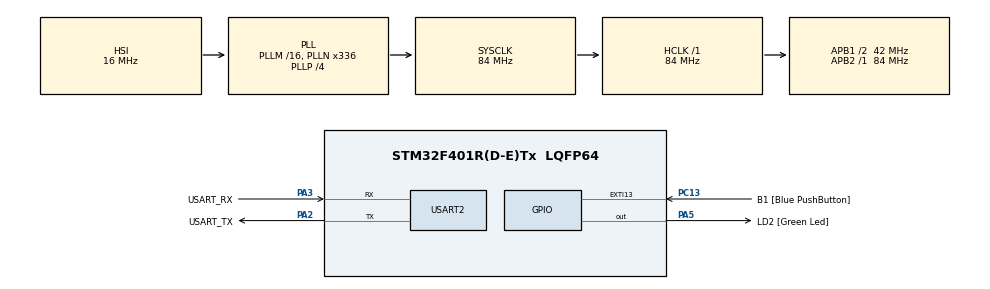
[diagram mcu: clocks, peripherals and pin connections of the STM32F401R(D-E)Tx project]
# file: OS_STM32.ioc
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Mcu.Family=STM32F4
Mcu.Name=STM32F401R(D-E)Tx
Mcu.Package=LQFP64
NVIC.PriorityGroup=NVIC_PRIORITYGROUP_0
PA13.GPIO_Label=TMS
PA13.Mode=Serial_Wire
PA13.Signal=SYS_JTMS-SWDIO
PA14.GPIO_Label=TCK
PA14.Mode=Serial_Wire
PA14.Signal=SYS_JTCK-SWCLK
PA2.GPIO_Label=USART_TX
PA2.GPIO_Mode=GPIO_MODE_AF_PP
PA2.GPIO_PuPd=GPIO_NOPULL
PA2.GPIO_Speed=GPIO_SPEED_FREQ_LOW
PA2.Mode=Asynchronous
PA2.Signal=USART2_TX
PA3.GPIO_Label=USART_RX
PA3.GPIO_Mode=GPIO_MODE_AF_PP
PA3.GPIO_PuPd=GPIO_NOPULL
PA3.GPIO_Speed=GPIO_SPEED_FREQ_LOW
PA3.Mode=Asynchronous
PA3.Signal=USART2_RX
PA5.GPIO_Label=LD2 [Green Led]
PA5.GPIO_Mode=GPIO_MODE_OUTPUT_PP
PA5.GPIO_PuPd=GPIO_NOPULL
PA5.GPIO_Speed=GPIO_SPEED_FREQ_LOW
PA5.Signal=GPIO_Output
PB3.GPIO_Label=SWO
PB3.Signal=SYS_JTDO-SWO
PC13-ANTI_TAMP.GPIO_Label=B1 [Blue PushButton]
PC13-ANTI_TAMP.GPIO_ModeDefaultEXTI=GPIO_MODE_IT_FALLING
PC13-ANTI_TAMP.GPIO_PuPd=GPIO_NOPULL
PC13-ANTI_TAMP.Signal=GPXTI13
PC14-OSC32_IN.Mode=LSE-External-Oscillator
PC14-OSC32_IN.Signal=RCC_OSC32_IN
PC15-OSC32_OUT.Mode=LSE-External-Oscillator
PC15-OSC32_OUT.Signal=RCC_OSC32_OUT
PH0\ -\ OSC_IN.Mode=HSE-External-Clock-Source
PH0\ -\ OSC_IN.Signal=RCC_OSC_IN
PH1\ -\ OSC_OUT.Mode=HSE-External-Clock-Source
PH1\ -\ OSC_OUT.Signal=RCC_OSC_OUT
ProjectManager.HeapSize=0x200
ProjectManager.StackSize=0x400
ProjectManager.TargetToolchain=STM32CubeIDE
RCC.48MHZClocksFreq_Value=48000000
RCC.AHBFreq_Value=84000000
RCC.APB1CLKDivider=RCC_HCLK_DIV2
RCC.APB1Freq_Value=42000000
RCC.APB1TimFreq_Value=84000000
RCC.APB2Freq_Value=84000000
RCC.APB2TimFreq_Value=84000000
RCC.CortexFreq_Value=84000000
RCC.HCLKFreq_Value=84000000
RCC.HSE_VALUE=8000000
RCC.HSI_VALUE=16000000
RCC.PLLN=336
RCC.PLLP=RCC_PLLP_DIV4
RCC.PLLQ=7
RCC.SYSCLKFreq_VALUE=84000000
RCC.SYSCLKSource=RCC_SYSCLKSOURCE_PLLCLK
RCC.VCOOutputFreq_Value=336000000
USART2.VirtualMode=VM_ASYNC
board=NUCLEO-F401RE

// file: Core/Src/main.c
/* USER CODE BEGIN Header */
/**
  ******************************************************************************
  * @file           : main.c
  * @brief          : Main program body
  ******************************************************************************
  * @attention
  *
  * Copyright (c) 2024 STMicroelectronics.
  * All rights reserved.
  *
  * This software is licensed under terms that can be found in the LICENSE file
  * in the root directory of this software component.
  * If no LICENSE file comes with this software, it is provided AS-IS.
  *
  ******************************************************************************
  */
/* USER CODE END Header */
#include "main.h"
#include "kernel.h" // Include kernel API

#include<stdio.h>

UART_HandleTypeDef huart2;

void SystemClock_Config(void);
static void MX_GPIO_Init(void);
static void MX_USART2_UART_Init(void);
/* USER CODE BEGIN PFP */
int __io_putchar(int ch)
{
	HAL_UART_Transmit(&huart2,(uint8_t*)&ch,1,HAL_MAX_DELAY);
	return ch;
}

volatile int global_value = 0; // A shared global variable

void cooperative_thread(void* args) {
    while (true) {
        printf("Cooperative thread: Global value is %d\r\n\n\n\n", global_value);
        osYield(); // Voluntarily give up control
    }
}

typedef struct {
    int test1;
    int test2;
} StructArgs;

void preemptive_thread(void* args) {
    StructArgs* input = (StructArgs*)args; // Cast the input argument
    while (true) {
        printf("Preemptive thread\r\n",
               input->test1, input->test2);

        // Simulate work by modifying global variable
        global_value += 1;
    }
}

/* USER CODE END PFP */

int main(void)
{

  /* MCU Configuration--------------------------------------------------------*/

  /* Reset of all peripherals, Initializes the Flash interface and the Systick. */
  HAL_Init();

  /* Configure the system clock */
  SystemClock_Config();

  /* Initialize all configured peripherals */
  MX_GPIO_Init();
  MX_USART2_UART_Init();
  /* USER CODE BEGIN 2 */

  //printf("Starting Main Now!\r\n"); //\r\n means “newline and return”. It
  //MUST be in all print statements

  //printf("MSP Init is: %p\n\r",MSP_INIT_VAL); //note the %p to print a
  // pointer. It will be in hex
  uint32_t hardcoded_value = 37;

  osKernelInitialize();

  StructArgs thread_args = {
         .test1 = 2,
         .test2 = 5,
     };

  osCreateThreadWithDeadline(preemptive_thread, &thread_args, 2000);
  osCreateThread(cooperative_thread, NULL);

  osKernelStart();

  /* USER CODE END 2 */

  /* Infinite loop */
  while (1)
  {

  }
}

void SystemClock_Config(void)
{
  RCC_OscInitTypeDef RCC_OscInitStruct = {0};
  RCC_ClkInitTypeDef RCC_ClkInitStruct = {0};

  /** Configure the main internal regulator output voltage
  */
  __HAL_RCC_PWR_CLK_ENABLE();
  __HAL_PWR_VOLTAGESCALING_CONFIG(PWR_REGULATOR_VOLTAGE_SCALE2);

  /** Initializes the RCC Oscillators according to the specified parameters
  * in the RCC_OscInitTypeDef structure.
  */
  RCC_OscInitStruct.OscillatorType = RCC_OSCILLATORTYPE_HSI;
  RCC_OscInitStruct.HSIState = RCC_HSI_ON;
  RCC_OscInitStruct.HSICalibrationValue = RCC_HSICALIBRATION_DEFAULT;
  RCC_OscInitStruct.PLL.PLLState = RCC_PLL_ON;
  RCC_OscInitStruct.PLL.PLLSource = RCC_PLLSOURCE_HSI;
  RCC_OscInitStruct.PLL.PLLM = 16;
  RCC_OscInitStruct.PLL.PLLN = 336;
  RCC_OscInitStruct.PLL.PLLP = RCC_PLLP_DIV4;
  RCC_OscInitStruct.PLL.PLLQ = 7;
  if (HAL_RCC_OscConfig(&RCC_OscInitStruct) != HAL_OK)
  {
    Error_Handler();
  }

  /** Initializes the CPU, AHB and APB buses clocks
  */
  RCC_ClkInitStruct.ClockType = RCC_CLOCKTYPE_HCLK|RCC_CLOCKTYPE_SYSCLK
                              |RCC_CLOCKTYPE_PCLK1|RCC_CLOCKTYPE_PCLK2;
  RCC_ClkInitStruct.SYSCLKSource = RCC_SYSCLKSOURCE_PLLCLK;
  RCC_ClkInitStruct.AHBCLKDivider = RCC_SYSCLK_DIV1;
  RCC_ClkInitStruct.APB1CLKDivider = RCC_HCLK_DIV2;
  RCC_ClkInitStruct.APB2CLKDivider = RCC_HCLK_DIV1;

  if (HAL_RCC_ClockConfig(&RCC_ClkInitStruct, FLASH_LATENCY_2) != HAL_OK)
  {
    Error_Handler();
  }
}

static void MX_USART2_UART_Init(void)
{

  huart2.Instance = USART2;
  huart2.Init.BaudRate = 115200;
  huart2.Init.WordLength = UART_WORDLENGTH_8B;
  huart2.Init.StopBits = UART_STOPBITS_1;
  huart2.Init.Parity = UART_PARITY_NONE;
  huart2.Init.Mode = UART_MODE_TX_RX;
  huart2.Init.HwFlowCtl = UART_HWCONTROL_NONE;
  huart2.Init.OverSampling = UART_OVERSAMPLING_16;
  if (HAL_UART_Init(&huart2) != HAL_OK)
  {
    Error_Handler();
  }

}

static void MX_GPIO_Init(void)
{
  GPIO_InitTypeDef GPIO_InitStruct = {0};

  /* GPIO Ports Clock Enable */
  __HAL_RCC_GPIOC_CLK_ENABLE();
  __HAL_RCC_GPIOH_CLK_ENABLE();
  __HAL_RCC_GPIOA_CLK_ENABLE();
  __HAL_RCC_GPIOB_CLK_ENABLE();

  /*Configure GPIO pin Output Level */
  HAL_GPIO_WritePin(LD2_GPIO_Port, LD2_Pin, GPIO_PIN_RESET);

  /*Configure GPIO pin : B1_Pin */
  GPIO_InitStruct.Pin = B1_Pin;
  GPIO_InitStruct.Mode = GPIO_MODE_IT_FALLING;
  GPIO_InitStruct.Pull = GPIO_NOPULL;
  HAL_GPIO_Init(B1_GPIO_Port, &GPIO_InitStruct);

  /*Configure GPIO pin : LD2_Pin */
  GPIO_InitStruct.Pin = LD2_Pin;
  GPIO_InitStruct.Mode = GPIO_MODE_OUTPUT_PP;
  GPIO_InitStruct.Pull = GPIO_NOPULL;
  GPIO_InitStruct.Speed = GPIO_SPEED_FREQ_LOW;
  HAL_GPIO_Init(LD2_GPIO_Port, &GPIO_InitStruct);

}

void Error_Handler(void)
{
  __disable_irq();
  while (1)
  {
  }
}
